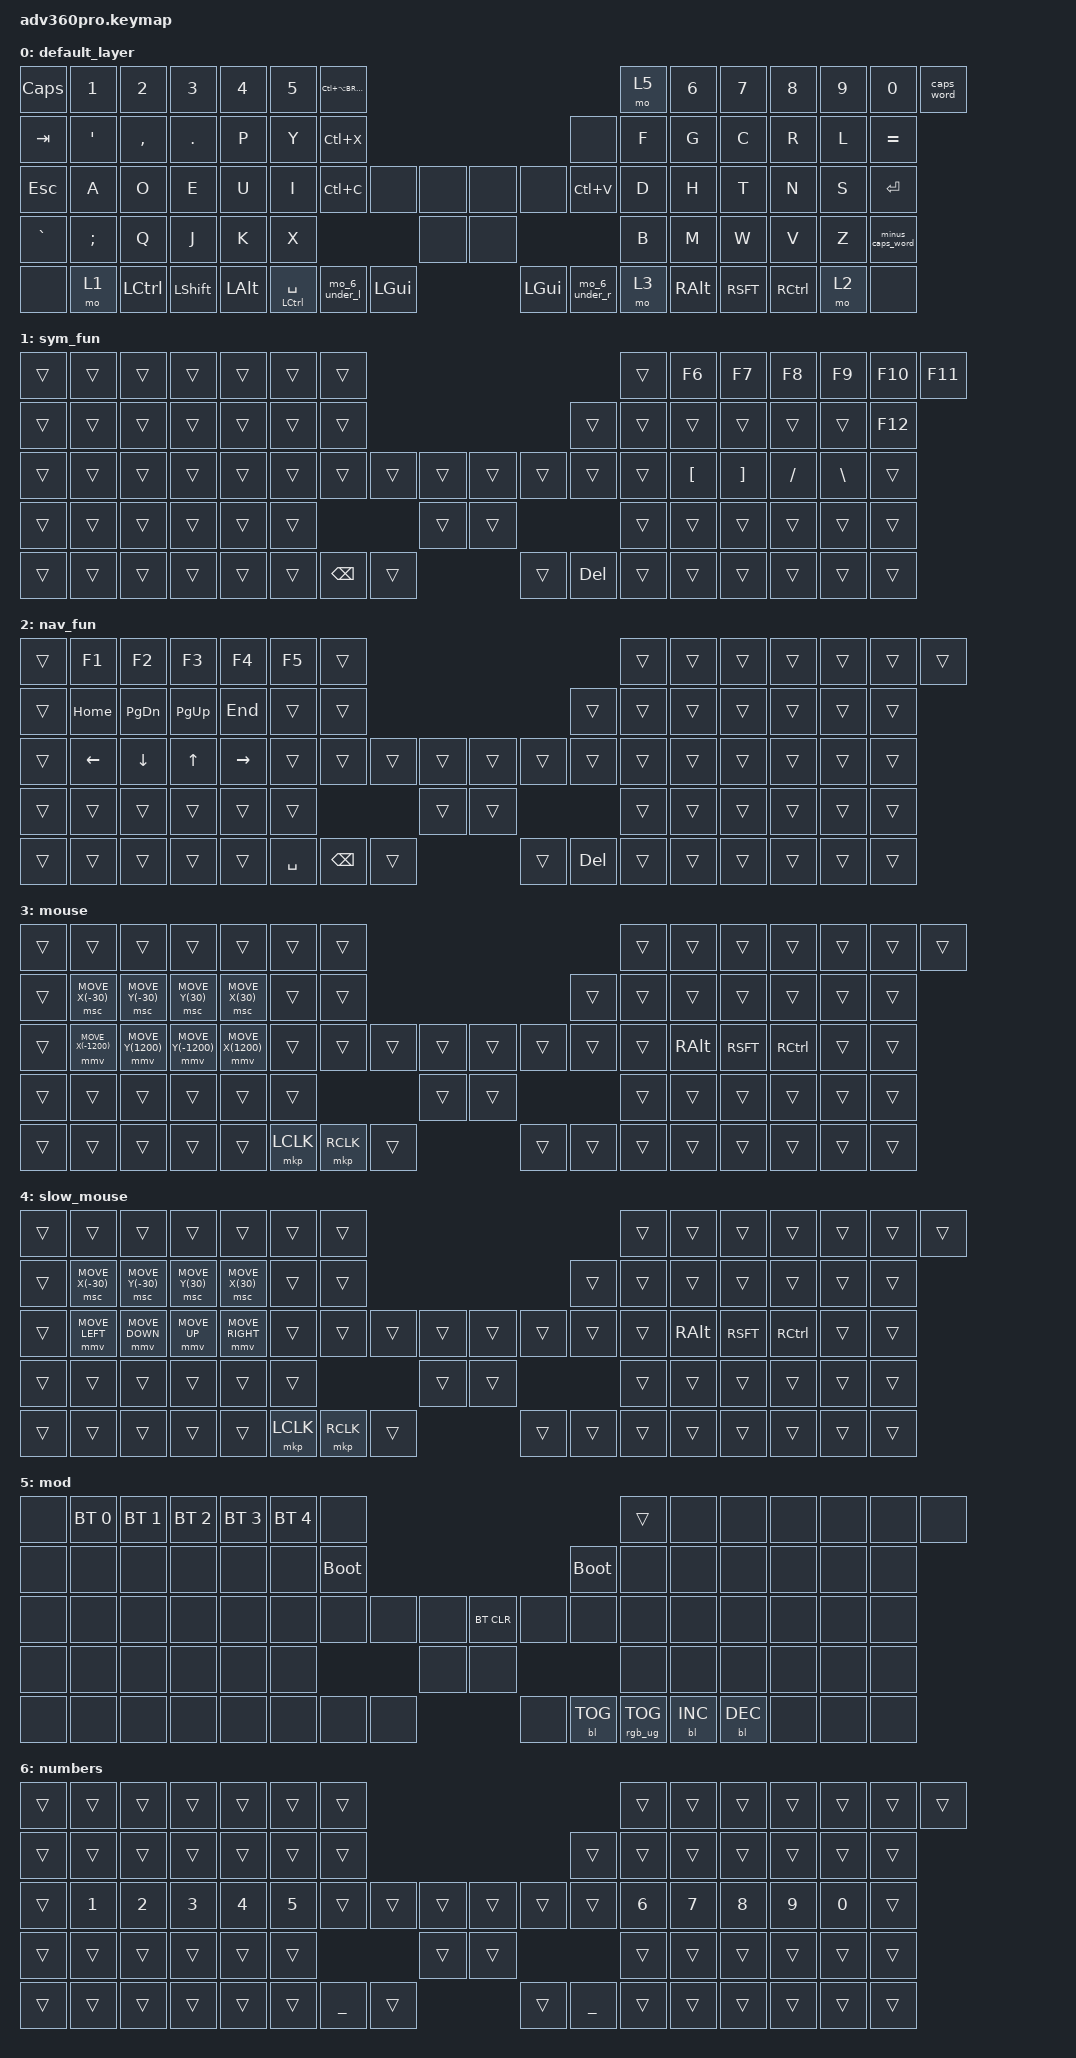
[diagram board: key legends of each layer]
#include <behaviors.dtsi>
#include <input/processors.dtsi>
#include <dt-bindings/zmk/keys.h>
#include <dt-bindings/zmk/bt.h>
#include <dt-bindings/zmk/rgb.h>
#include <dt-bindings/zmk/backlight.h>
#include <dt-bindings/zmk/pointing.h>

#define AS(keycode) &as LS(keycode) keycode

// &mmv {
//     acceleration-exponent = <0>;
//     time-to-max-speed-ms = <0>;
// };
// &msc {
//     acceleration-exponent = <0>;
//     time-to-max-speed-ms = <0>;
// };

// &mkp_input_listener {
//     input-processors = <&zip_xy_scaler 1 5>;
//     layers = <4>
// };

&lt {
    tapping-term-ms = <200>;
};

/ {
    behaviors {
        as: auto_shift {
            compatible = "zmk,behavior-hold-tap";
            #binding-cells = <2>;
            tapping_term_ms = <200>;
            quick_tap_ms = <0>;
            flavor = "tap-preferred";
            bindings = <&kp>, <&kp>;
        };
        ht_tp: auto_ctrl {
            compatible = "zmk,behavior-hold-tap";
            #binding-cells = <2>;
            tapping_term_ms = <200>;
            quick_tap_ms = <0>;
            flavor = "tap-preferred";
            bindings = <&kp>, <&kp>;
        };
        mo_6_under_l: mo_6_underscore_l {
            compatible = "zmk,behavior-mod-morph";
            #binding-cells = <0>;
            bindings = <&mo 6>, <&kp UNDER>;
            mods = <(MOD_RSFT)>;
        };
        mo_6_under_r: mo_6_underscore_r {
            compatible = "zmk,behavior-mod-morph";
            #binding-cells = <0>;
            bindings = <&mo 6>, <&kp UNDER>;
            mods = <(MOD_LSFT)>;
        };
        minus_caps_word: minus_caps_lock_word {
            compatible = "zmk,behavior-mod-morph";
            #binding-cells = <0>;
            bindings = <&kp MINUS>, <&caps_word>;
            mods = <(MOD_LSFT)>;
        };
    };

    keymap {
        compatible = "zmk,keymap";

        default_layer {
            bindings = <
                &kp CAPS  &kp N1    &kp N2    &kp N3    &kp N4     &kp N5 &kp LC(LA(BREAK))                                                                           &mo 5     &kp N6   &kp N7   &kp N8   &kp N9    &kp N0 &caps_word
                &kp TAB   &kp SQT   &kp COMMA &kp DOT   &kp P      &kp Y  &kp LC(X)                                                                         &none     &kp F    &kp G    &kp C    &kp R     &kp L  &kp EQUAL 
                &kp ESC   &kp A     &kp O     &kp E     &kp U      &kp I  &kp LC(C)                    &none         &none     &none    &none               &kp LC(V) &kp D    &kp H    &kp T    &kp N     &kp S  &kp ENTER
                &kp GRAVE &kp SEMI  &kp Q     &kp J     &kp K      &kp X                                             &none     &none                                  &kp B    &kp M    &kp W    &kp V     &kp Z  &minus_caps_word
                &none     &mo 1     &kp LCTRL &kp LSHFT &kp LALT                    &ht_tp LCTRL SPACE &mo_6_under_l &kp LGUI  &kp LGUI &mo_6_under_r &mo 3                    &kp RALT &kp RSFT &kp RCTRL &mo 2  &none
            >;
        };
        sym_fun {
            bindings = <
                &trans &trans &trans &trans &trans &trans &trans                                               &trans &kp F6 &kp F7   &kp F8   &kp F9   &kp F10  &kp F11
                &trans &trans &trans &trans &trans &trans &trans                                               &trans &trans &trans   &trans   &trans   &trans   &kp F12
                &trans &trans &trans &trans &trans &trans &trans        &trans &trans    &trans &trans         &trans &trans &kp LBKT &kp RBKT &kp FSLH &kp BSLH &trans
                &trans &trans &trans &trans &trans &trans                      &trans    &trans                      &trans &trans   &trans   &trans   &trans   &trans
                &trans &trans &trans &trans &trans               &trans &kp BSPC &trans  &trans &kp DEL &trans              &trans   &trans   &trans   &trans   &trans
            >;
        };
        nav_fun {
            bindings = <
                &trans &kp F1   &kp F2    &kp F3    &kp F4    &kp F5 &trans                                                 &trans &trans &trans &trans &trans &trans &trans
                &trans &kp HOME &kp PG_DN &kp PG_UP &kp END   &trans &trans                                                 &trans &trans &trans &trans &trans &trans &trans
                &trans &kp LEFT &kp DOWN  &kp UP    &kp RIGHT &trans &trans           &trans   &trans  &trans &trans        &trans &trans &trans &trans &trans &trans &trans
                &trans &trans   &trans    &trans    &trans    &trans                           &trans  &trans                      &trans &trans &trans &trans &trans &trans
                &trans &trans   &trans    &trans    &trans                  &kp SPACE &kp BSPC &trans  &trans &kp DEL &trans               &trans &trans &trans &trans &trans
            >;
        };
        mouse {
            bindings = <
                &trans &trans         &trans         &trans       &trans          &trans &trans                                                  &trans &trans &trans   &trans   &trans    &trans &trans
                &trans &msc MOVE_X(-30) &msc MOVE_Y(-30) &msc MOVE_Y(30) &msc MOVE_X(30) &trans &trans                                                  &trans &trans &trans   &trans   &trans    &trans &trans
                &trans &mmv MOVE_X(-1200) &mmv MOVE_Y(1200) &mmv MOVE_Y(-1200) &mmv MOVE_X(1200) &trans &trans           &trans    &trans  &trans &trans        &trans &trans &kp RALT &kp RSFT &kp RCTRL &trans &trans
                &trans &trans         &trans         &trans       &trans          &trans                            &trans  &trans                      &trans &trans   &trans   &trans    &trans &trans
                &trans &trans         &trans         &trans       &trans                        &mkp LCLK &mkp RCLK &trans  &trans &trans &trans               &trans   &trans   &trans    &trans &trans
            >;
        };
        slow_mouse {
            bindings = <
                &trans &trans         &trans         &trans       &trans          &trans &trans                                                  &trans &trans &trans   &trans   &trans    &trans &trans
                &trans &msc MOVE_X(-30) &msc MOVE_Y(-30) &msc MOVE_Y(30) &msc MOVE_X(30) &trans &trans                                                  &trans &trans &trans   &trans   &trans    &trans &trans
                &trans &mmv MOVE_LEFT &mmv MOVE_DOWN &mmv MOVE_UP &mmv MOVE_RIGHT &trans &trans           &trans    &trans  &trans &trans        &trans &trans &kp RALT &kp RSFT &kp RCTRL &trans &trans
                &trans &trans         &trans         &trans       &trans          &trans                            &trans  &trans                      &trans &trans   &trans   &trans    &trans &trans
                &trans &trans         &trans         &trans       &trans                        &mkp LCLK &mkp RCLK &trans  &trans &trans &trans               &trans   &trans   &trans    &trans &trans
            >;
        };
        mod {
            bindings = <
                &none &bt BT_SEL 0 &bt BT_SEL 1 &bt BT_SEL 2 &bt BT_SEL 3 &bt BT_SEL 4 &none                                                               &trans      &none &none      &none      &none &none &none
                &none &none        &none        &none        &none        &none        &bootloader                                                         &bootloader &none &none      &none      &none &none &none
                &none &none        &none        &none        &none        &none        &none             &none &none &bt BT_CLR &none                      &none       &none &none      &none      &none &none &none
                &none &none        &none        &none        &none        &none                                &none &none                                             &none &none      &none      &none &none &none
                &none &none        &none        &none        &none                                 &none &none &none &none      &bl BL_TOG &rgb_ug RGB_TOG                   &bl BL_INC &bl BL_DEC &none &none &none
            >;
        };
        numbers {
            bindings = <
                &trans &trans &trans &trans &trans &trans &trans                                                   &trans &trans &trans &trans &trans &trans &trans
                &trans &trans &trans &trans &trans &trans &trans                                                   &trans &trans &trans &trans &trans &trans &trans
                &trans &kp N1 &kp N2 &kp N3 &kp N4 &kp N5 &trans            &trans &trans  &trans &trans           &trans &kp N6 &kp N7 &kp N8 &kp N9 &kp N0 &trans
                &trans &trans &trans &trans &trans &trans                          &trans  &trans                         &trans &trans &trans &trans &trans &trans
                &trans &trans &trans &trans &trans               &trans  &kp UNDER &trans  &trans &kp UNDER &trans               &trans &trans &trans &trans &trans
            >;
        };
    };
};
